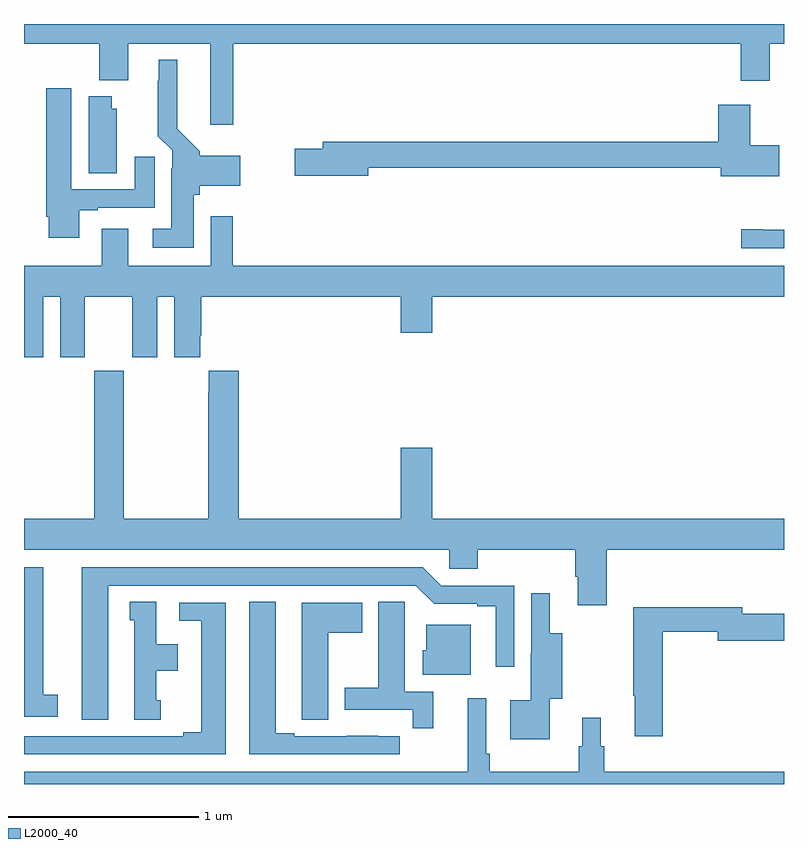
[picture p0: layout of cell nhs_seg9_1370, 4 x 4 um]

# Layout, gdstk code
import gdstk
lib = gdstk.Library(unit=1e-6, precision=1e-09)
def P(c, l, *ps):  # polygons
    for p in ps: c.add(gdstk.Polygon(p, *l))
L2000_40 = (2000, 40)

nhs_seg9_1370 = lib.new_cell('nhs_seg9_1370')
P(nhs_seg9_1370, L2000_40, [(188.102,1220.396),(190.772,1220.396),(190.772,1220.202),(190.924,1220.202),(190.924,1220.396),(191,1220.396),(191,1220.5),(187,1220.5),(187,1220.396),(187.397,1220.396),(187.397,1220.204),(187.549,1220.204),(187.549,1220.396),(187.979,1220.396),(187.979,1219.971),(188.102,1219.971)],
  [(187.894,1219.602),(187.925,1219.602),(187.925,1219.649),(188.137,1219.649),(188.137,1219.807),(187.925,1219.807),(187.925,1219.83),(187.807,1219.948),(187.807,1220.311),(187.709,1220.311),(187.709,1220.201),(187.705,1220.201),(187.705,1219.91),(187.779,1219.836),(187.779,1219.742),(187.775,1219.742),(187.775,1219.423),(187.677,1219.423),(187.677,1219.322),(187.894,1219.322)],
  [(187.291,1219.521),(187.387,1219.521),(187.387,1219.533),(187.687,1219.533),(187.687,1219.801),(187.583,1219.801),(187.583,1219.629),(187.249,1219.629),(187.249,1220.161),(187.118,1220.161),(187.118,1219.486),(187.13,1219.486),(187.13,1219.374),(187.291,1219.374)],
  [(187.489,1220.055),(187.462,1220.055),(187.462,1220.119),(187.34,1220.119),(187.34,1219.714),(187.489,1219.714)],
  [(190.975,1219.863),(190.822,1219.863),(190.822,1220.074),(190.655,1220.074),(190.655,1219.88),(188.573,1219.88),(188.573,1219.844),(188.424,1219.844),(188.424,1219.702),(188.812,1219.702),(188.812,1219.744),(190.667,1219.744),(190.667,1219.7),(190.975,1219.7)],
  [(187.102,1219.064),(187.19,1219.064),(187.19,1218.747),(187.321,1218.747),(187.321,1219.064),(187.571,1219.064),(187.571,1218.747),(187.702,1218.747),(187.702,1219.064),(187.79,1219.064),(187.79,1218.747),(187.927,1218.747),(187.927,1218.859),(187.934,1218.859),(187.934,1219.064),(188.984,1219.064),(188.984,1218.876),(189.148,1218.876),(189.148,1219.064),(191,1219.064),(191,1219.228),(188.099,1219.228),(188.099,1219.489),(187.983,1219.489),(187.983,1219.228),(187.549,1219.228),(187.549,1219.423),(187.409,1219.423),(187.409,1219.228),(187,1219.228),(187,1218.747),(187.102,1218.747)],
  [(191,1219.416),(190.888,1219.416),(190.888,1219.421),(190.776,1219.421),(190.776,1219.32),(191,1219.32)],
  [(190.067,1217.732),(191,1217.732),(191,1217.896),(189.148,1217.896),(189.148,1218.271),(188.984,1218.271),(188.984,1217.896),(188.129,1217.896),(188.129,1218.676),(187.973,1218.676),(187.973,1218.563),(187.969,1218.563),(187.969,1217.896),(187.524,1217.896),(187.524,1218.676),(187.369,1218.676),(187.369,1217.896),(187,1217.896),(187,1217.732),(189.237,1217.732),(189.237,1217.634),(189.389,1217.634),(189.389,1217.732),(189.902,1217.732),(189.902,1217.59),(189.914,1217.59),(189.914,1217.442),(190.067,1217.442)],
  [(187.177,1216.97),(187.102,1216.97),(187.102,1217.64),(187,1217.64),(187,1216.854),(187.177,1216.854)],
  [(187.444,1217.544),(189.063,1217.544),(189.159,1217.448),(189.386,1217.448),(189.386,1217.436),(189.482,1217.436),(189.482,1217.118),(189.579,1217.118),(189.579,1217.544),(189.195,1217.544),(189.099,1217.64),(187.304,1217.64),(187.304,1216.839),(187.444,1216.839)],
  [(189.766,1216.949),(189.834,1216.949),(189.834,1217.293),(189.766,1217.293),(189.766,1217.503),(189.669,1217.503),(189.669,1217.189),(189.668,1217.189),(189.668,1216.942),(189.56,1216.942),(189.56,1216.736),(189.766,1216.736)],
  [(187.72,1216.941),(187.696,1216.941),(187.696,1217.096),(187.81,1217.096),(187.81,1217.236),(187.696,1217.236),(187.696,1217.459),(187.556,1217.459),(187.556,1217.361),(187.58,1217.361),(187.58,1216.839),(187.72,1216.839)],
  [(188.977,1216.752),(188.864,1216.752),(188.864,1216.753),(188.698,1216.753),(188.698,1216.752),(188.422,1216.752),(188.422,1216.767),(188.326,1216.767),(188.326,1217.459),(188.186,1217.459),(188.186,1216.656),(188.977,1216.656)],
  [(189.155,1216.986),(189.004,1216.986),(189.004,1217.348),(189.003,1217.348),(189.003,1217.459),(188.864,1217.459),(188.864,1217.007),(188.687,1217.007),(188.687,1216.89),(189.046,1216.89),(189.046,1216.794),(189.155,1216.794)],
  [(188.602,1217.296),(188.779,1217.296),(188.779,1217.455),(188.462,1217.455),(188.462,1216.945),(188.463,1216.945),(188.463,1216.837),(188.602,1216.837)],
  [(188.062,1217.454),(187.818,1217.454),(187.818,1217.358),(187.934,1217.358),(187.934,1216.772),(187.838,1216.772),(187.838,1216.752),(187,1216.752),(187,1216.656),(188.062,1216.656)],
  [(190.361,1217.302),(190.652,1217.302),(190.652,1217.255),(191,1217.255),(191,1217.397),(190.78,1217.397),(190.78,1217.431),(190.207,1217.431),(190.207,1216.964),(190.214,1216.964),(190.214,1216.752),(190.361,1216.752)],
  [(189.352,1217.338),(189.116,1217.338),(189.116,1217.205),(189.098,1217.205),(189.098,1217.075),(189.352,1217.075)],
  [(191,1216.564),(190.055,1216.564),(190.055,1216.698),(190.036,1216.698),(190.036,1216.849),(189.938,1216.849),(189.938,1216.698),(189.919,1216.698),(189.919,1216.564),(189.452,1216.564),(189.452,1216.66),(189.432,1216.66),(189.432,1216.951),(189.335,1216.951),(189.335,1216.564),(187,1216.564),(187,1216.5),(191,1216.5)])

lib.write_gds('nhs_seg9_1370.gds')
